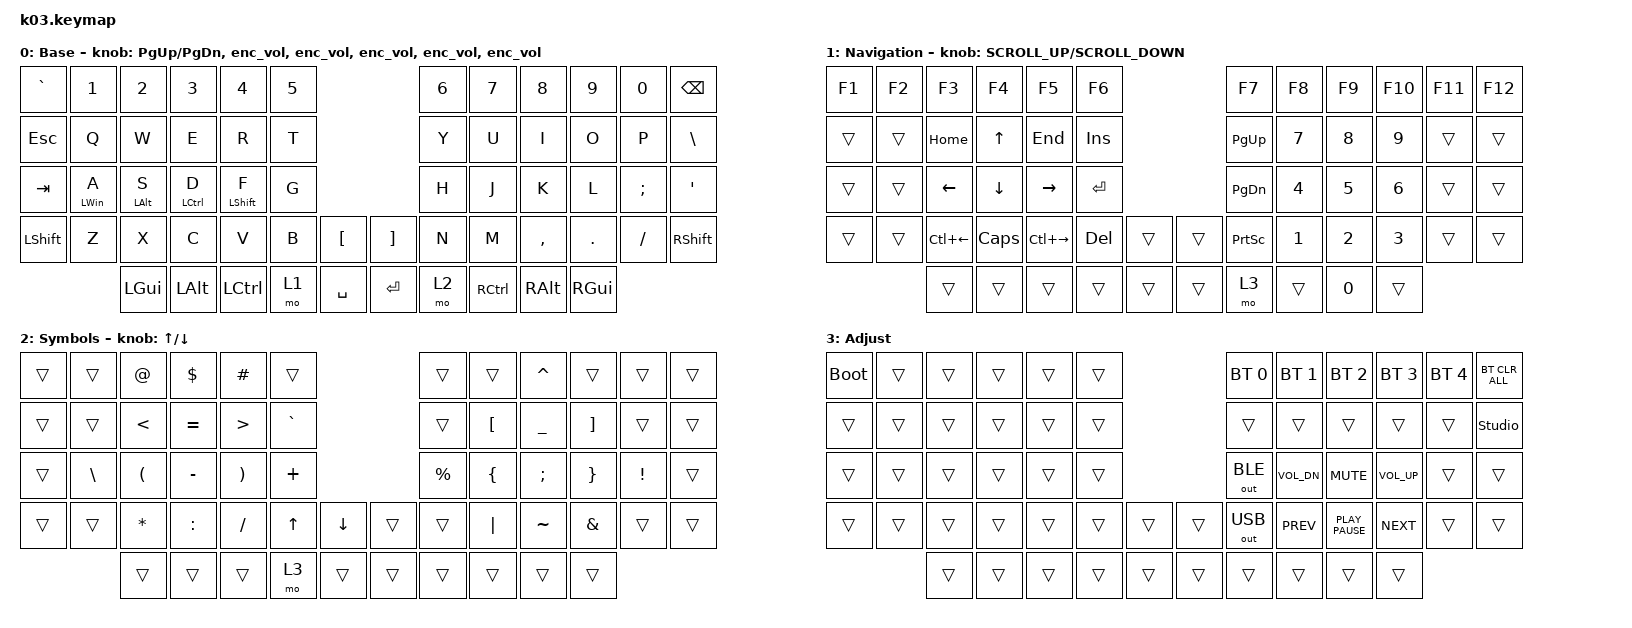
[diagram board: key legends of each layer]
#include "keys_ru.h"
#include <behaviors.dtsi>
#include <dt-bindings/zmk/bt.h>
#include <dt-bindings/zmk/keys.h>
#include <dt-bindings/zmk/outputs.h>

/ {
    behaviors {
        enc_vol: enc_vol {
            compatible = "zmk,behavior-sensor-rotate";
            label = "ENC_VOL";
            #sensor-binding-cells = <0>;
            bindings = <&kp C_VOL_UP>, <&kp C_VOL_DN>;
        };

        ASDF: ASDF {
            compatible = "zmk,behavior-hold-tap";
            label = "ASDF";
            bindings = <&kp>, <&kp>;

            #binding-cells = <2>;
            tapping-term-ms = <200>;
        };

        FF_FIND: FF_FIND {
            compatible = "zmk,behavior-tap-dance";
            label = "FF_FIND";
            #binding-cells = <0>;
            bindings = <&kp F>, <&kp F>, <&kp LC(F)>;
        };
    };

    combos {
        compatible = "zmk,combos";

        COPY01 {
            bindings = <&kp LC(C)>;
            key-positions = <39 40>;
        };

        PASTE {
            bindings = <&kp LC(V)>;
            key-positions = <41 40>;
        };

        BUFER {
            bindings = <&kp LA(C)>;
            key-positions = <42 41>;
        };

        LANG01 {
            bindings = <&kp LG(SPACE)>;
            key-positions = <5 4>;
        };

        LANG02 {
            bindings = <&kp LG(SPACE)>;
            key-positions = <7 6>;
        };
    };

    keymap {
        compatible = "zmk,keymap";

        base {
            bindings = <
&kp GRAVE  &kp N1            &kp N2            &kp N3         &kp N4              &kp N5                          &kp N6  &kp N7     &kp N8     &kp N9    &kp N0    &kp BSPC
&kp ESC    &kp Q             &kp W             &kp E          &kp R               &kp T                           &kp Y   &kp U      &kp I      &kp O     &kp P     &kp BSLH
&kp TAB    &ASDF LEFT_WIN A  &ASDF LEFT_ALT S  &ASDF LCTRL D  &ASDF LEFT_SHIFT F  &kp G                           &kp H   &kp J      &kp K      &kp L     &kp SEMI  &kp SQT
&kp LSHFT  &kp Z             &kp X             &kp C          &kp V               &kp B   &kp LBKT     &kp RBKT   &kp N   &kp M      &kp COMMA  &kp DOT   &kp FSLH  &kp RSHFT
                             &kp LGUI          &kp LALT       &kp LCTRL           &mo 1   &kp SPACE    &kp ENTER  &mo 2   &kp RCTRL  &kp RALT   &kp RGUI
            >;

            display-name = "Base";
            sensor-bindings =
                <&inc_dec_kp PG_UP PG_DN>,
                <&enc_vol>,
                <&enc_vol>,
                <&enc_vol>,
                <&enc_vol>,
                <&enc_vol>;
        };

        nav {
            bindings = <
&kp F1  &kp F2  &kp F3        &kp F4    &kp F5         &kp F6                     &kp F7           &kp F8  &kp F9  &kp F10  &kp F11  &kp F12
&trans  &trans  &kp HOME      &kp UP    &kp END        &kp INS                    &kp PG_UP        &kp N7  &kp N8  &kp N9   &trans   &trans
&trans  &trans  &kp LEFT      &kp DOWN  &kp RIGHT      &kp RET                    &kp PG_DN        &kp N4  &kp N5  &kp N6   &trans   &trans
&trans  &trans  &kp LC(LEFT)  &kp CAPS  &kp LC(RIGHT)  &kp DEL  &trans    &trans  &kp PRINTSCREEN  &kp N1  &kp N2  &kp N3   &trans   &trans
                &trans        &trans    &trans         &trans   &trans    &trans  &mo 3            &trans  &kp N0  &trans
            >;

            display-name = "Navigation";
            sensor-bindings = <&inc_dec_kp K_SCROLL_UP K_SCROLL_DOWN>;
        };

        sym {
            bindings = <
&trans  &trans    &kp AT    &kp DLLR   &kp HASH  &trans                               &trans     &trans    &kp CARET  &trans    &trans    &trans
&trans  &trans    &kp LT    &kp EQUAL  &kp GT    &kp GRAVE                            &trans     &kp LBKT  &kp UNDER  &kp RBKT  &trans    &trans
&trans  &kp BSLH  &kp LPAR  &kp MINUS  &kp RPAR  &kp PLUS                             &kp PRCNT  &kp LBRC  &kp SEMI   &kp RBRC  &kp EXCL  &trans
&trans  &trans    &kp STAR  &kp COLON  &kp FSLH  &kp UP     &kp DOWN_ARROW    &trans  &trans     &kp PIPE  &kp TILDE  &kp AMPS  &trans    &trans
                  &trans    &trans     &trans    &mo 3      &trans            &trans  &trans     &trans    &trans     &trans
            >;

            display-name = "Symbols";
            sensor-bindings = <&inc_dec_kp UP_ARROW DOWN_ARROW>;
        };

        adj {
            bindings = <
&bootloader  &trans  &trans  &trans  &trans  &trans                    &bt BT_SEL 0  &bt BT_SEL 1  &bt BT_SEL 2      &bt BT_SEL 3  &bt BT_SEL 4  &bt BT_CLR_ALL
&trans       &trans  &trans  &trans  &trans  &trans                    &trans        &trans        &trans            &trans        &trans        &studio_unlock
&trans       &trans  &trans  &trans  &trans  &trans                    &out OUT_BLE  &kp C_VOL_DN  &kp K_MUTE        &kp C_VOL_UP  &trans        &trans
&trans       &trans  &trans  &trans  &trans  &trans  &trans    &trans  &out OUT_USB  &kp K_PREV    &kp K_PLAY_PAUSE  &kp K_NEXT    &trans        &trans
                     &trans  &trans  &trans  &trans  &trans    &trans  &trans        &trans        &trans            &trans
            >;

            display-name = "Adjust";
        };
    };
};
